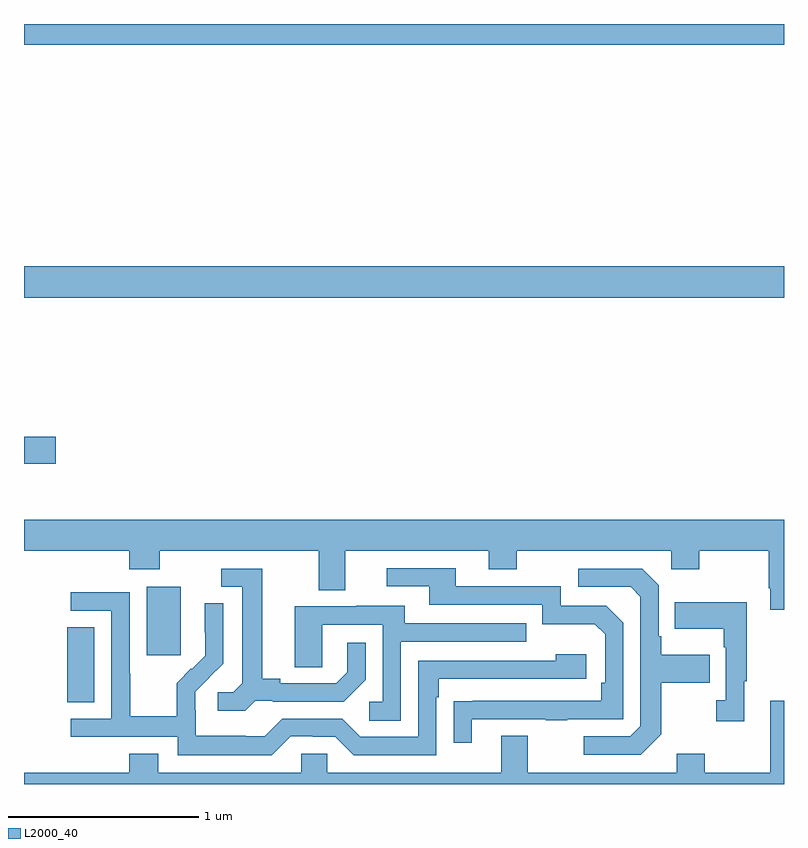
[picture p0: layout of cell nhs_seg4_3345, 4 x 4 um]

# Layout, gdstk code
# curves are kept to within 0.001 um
import gdstk
lib = gdstk.Library(unit=1e-6, precision=1e-09)
def R(c, l, rs):  # rectangles x0, y0, x1, y1
    for r in rs: c.add(gdstk.rectangle(r[:2], r[2:], *l))
def P(c, l, *ps):  # polygons
    for p in ps: c.add(gdstk.Polygon(p, *l))
L2000_40 = (2000, 40)

nhs_seg4_3345 = lib.new_cell('nhs_seg4_3345')
R(nhs_seg4_3345, L2000_40, [(287.228,821.329,287.371,821.726), (287.645,821.577,287.824,821.938), (287,822.586,287.167,822.728), (287,823.46,291,823.624), (287,824.792,291,824.9)])
P(nhs_seg4_3345, L2000_40, [(291,822.292),(287,822.292),(287,822.128),(287.555,822.128),(287.555,822.029),(287.715,822.029),(287.715,822.128),(288.551,822.128),(288.551,821.92),(288.691,821.92),(288.691,822.128),(289.445,822.128),(289.445,822.029),(289.593,822.029),(289.593,822.128),(290.406,822.128),(290.406,822.029),(290.553,822.029),(290.553,822.128),(290.92,822.128),(290.92,821.929),(290.927,821.929),(290.927,821.817),(291,821.817)],
  [(289.357,821.241),(289.747,821.241),(289.747,821.236),(289.859,821.236),(289.859,821.241),(290.154,821.241),(290.154,821.748),(290.064,821.838),(289.824,821.838),(289.824,821.94),(289.273,821.94),(289.273,822.036),(288.909,822.036),(288.909,821.94),(289.133,821.94),(289.133,821.844),(289.728,821.844),(289.728,821.741),(290.005,821.741),(290.058,821.688),(290.058,821.434),(290.038,821.434),(290.038,821.337),(289.261,821.336),(289.261,821.118),(289.357,821.118)],
  [(288.216,821.337),(288.31,821.337),(288.31,821.334),(288.682,821.334),(288.798,821.45),(288.798,821.644),(288.701,821.644),(288.701,821.487),(288.644,821.43),(288.349,821.43),(288.349,821.453),(288.253,821.453),(288.253,822.033),(288.039,822.033),(288.039,821.937),(288.149,821.937),(288.149,821.429),(288.102,821.382),(288.021,821.382),(288.021,821.285),(288.164,821.285)],
  [(290.353,821.161),(290.353,821.434),(290.609,821.434),(290.609,821.581),(290.353,821.581),(290.353,821.677),(290.34,821.677),(290.34,821.946),(290.253,822.033),(289.917,822.033),(289.917,821.937),(290.193,821.937),(290.244,821.886),(290.244,821.205),(290.19,821.151),(289.947,821.151),(289.947,821.055),(290.247,821.055)],
  [(288.405,821.151),(288.521,821.151),(288.521,821.148),(288.639,821.148),(288.735,821.052),(289.17,821.052),(289.17,821.357),(289.183,821.357),(289.183,821.454),(289.96,821.454),(289.96,821.584),(289.799,821.584),(289.799,821.55),(289.074,821.55),(289.074,821.148),(288.771,821.148),(288.675,821.244),(288.36,821.244),(288.267,821.151),(288.167,821.151),(288.167,821.155),(287.904,821.155),(287.904,821.289),(287.902,821.289),(287.902,821.386),(288.048,821.534),(288.048,821.852),(287.952,821.852),(287.952,821.698),(287.954,821.698),(287.954,821.576),(287.883,821.505),(287.88,821.508),(287.803,821.431),(287.803,821.257),(287.559,821.257),(287.559,821.48),(287.556,821.48),(287.556,821.91),(287.247,821.91),(287.247,821.811),(287.46,821.811),(287.46,821.244),(287.247,821.244),(287.247,821.148),(287.808,821.148),(287.808,821.051),(288.305,821.051)],
  [(290.791,821.441),(290.803,821.441),(290.803,821.857),(290.425,821.857),(290.425,821.717),(290.682,821.717),(290.682,821.621),(290.694,821.621),(290.694,821.342),(290.643,821.342),(290.643,821.229),(290.791,821.229)],
  [(288.984,821.649),(289.643,821.649),(289.643,821.745),(289.003,821.745),(289.003,821.839),(288.749,821.839),(288.749,821.835),(288.425,821.835),(288.425,821.515),(288.57,821.515),(288.57,821.739),(288.888,821.739),(288.888,821.334),(288.816,821.334),(288.816,821.233),(288.984,821.233)],
  [(291,821.338),(290.927,821.338),(290.927,820.96),(290.583,820.96),(290.583,821.059),(290.435,821.059),(290.435,820.96),(289.651,820.96),(289.651,821.155),(289.511,821.155),(289.511,820.96),(288.597,820.96),(288.597,821.058),(288.459,821.058),(288.459,820.96),(287.707,820.96),(287.707,821.059),(287.555,821.059),(287.555,820.96),(287,820.96),(287,820.9),(291,820.9)])

lib.write_gds('nhs_seg4_3345.gds')
